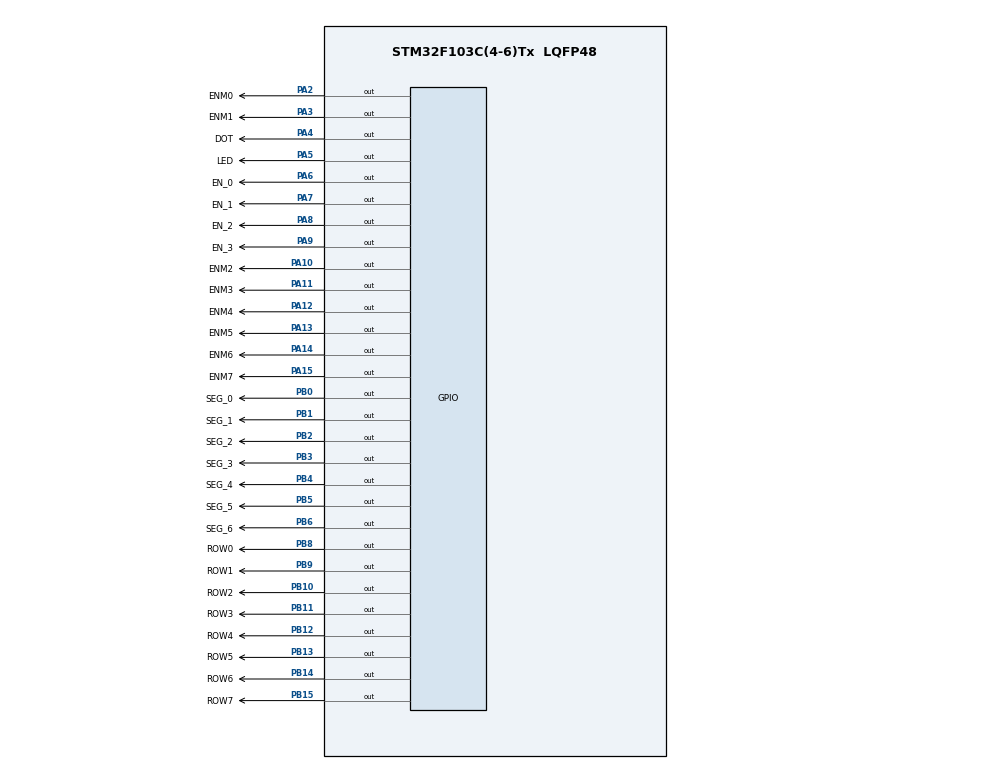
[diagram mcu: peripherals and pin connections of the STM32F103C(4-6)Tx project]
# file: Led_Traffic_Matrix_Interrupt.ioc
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Mcu.Family=STM32F1
Mcu.Name=STM32F103C(4-6)Tx
Mcu.Package=LQFP48
NVIC.PriorityGroup=NVIC_PRIORITYGROUP_4
NVIC.TIM2_IRQn=true\:0\:0\:false\:false\:true\:true\:true
PA10.GPIO_Label=ENM2
PA10.Signal=GPIO_Output
PA11.GPIO_Label=ENM3
PA11.Signal=GPIO_Output
PA12.GPIO_Label=ENM4
PA12.Signal=GPIO_Output
PA13.GPIO_Label=ENM5
PA13.Signal=GPIO_Output
PA14.GPIO_Label=ENM6
PA14.Signal=GPIO_Output
PA15.GPIO_Label=ENM7
PA15.Signal=GPIO_Output
PA2.GPIO_Label=ENM0
PA2.Signal=GPIO_Output
PA3.GPIO_Label=ENM1
PA3.Signal=GPIO_Output
PA4.GPIO_Label=DOT
PA4.Signal=GPIO_Output
PA5.GPIO_Label=LED
PA5.Signal=GPIO_Output
PA6.GPIO_Label=EN_0
PA6.Signal=GPIO_Output
PA7.GPIO_Label=EN_1
PA7.Signal=GPIO_Output
PA8.GPIO_Label=EN_2
PA8.Signal=GPIO_Output
PA9.GPIO_Label=EN_3
PA9.Signal=GPIO_Output
PB0.GPIO_Label=SEG_0
PB0.Signal=GPIO_Output
PB1.GPIO_Label=SEG_1
PB1.Signal=GPIO_Output
PB10.GPIO_Label=ROW2
PB10.Signal=GPIO_Output
PB11.GPIO_Label=ROW3
PB11.Signal=GPIO_Output
PB12.GPIO_Label=ROW4
PB12.Signal=GPIO_Output
PB13.GPIO_Label=ROW5
PB13.Signal=GPIO_Output
PB14.GPIO_Label=ROW6
PB14.Signal=GPIO_Output
PB15.GPIO_Label=ROW7
PB15.Signal=GPIO_Output
PB2.GPIO_Label=SEG_2
PB2.Signal=GPIO_Output
PB3.GPIO_Label=SEG_3
PB3.Signal=GPIO_Output
PB4.GPIO_Label=SEG_4
PB4.Signal=GPIO_Output
PB5.GPIO_Label=SEG_5
PB5.Signal=GPIO_Output
PB6.GPIO_Label=SEG_6
PB6.Signal=GPIO_Output
PB8.GPIO_Label=ROW0
PB8.Signal=GPIO_Output
PB9.GPIO_Label=ROW1
PB9.Signal=GPIO_Output
ProjectManager.HeapSize=0x200
ProjectManager.StackSize=0x400
ProjectManager.TargetToolchain=STM32CubeIDE
RCC.APB1Freq_Value=8000000
RCC.APB2Freq_Value=8000000
TIM2.Period=9
TIM2.Prescaler=7999
VP_SYS_VS_ND.Mode=No_Debug
VP_TIM2_VS_ClockSourceINT.Mode=Internal
board=custom

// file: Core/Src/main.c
/* USER CODE BEGIN Header */
/**
  ******************************************************************************
  * @file           : main.c
  * @brief          : Main program body
  ******************************************************************************
  * @attention
  *
  * <h2><center>&copy; Copyright (c) 2021 STMicroelectronics.
  * All rights reserved.</center></h2>
  *
  * This software component is licensed by ST under BSD 3-Clause license,
  * the "License"; You may not use this file except in compliance with the
  * License. You may obtain a copy of the License at:
  *                        opensource.org/licenses/BSD-3-Clause
  *
  ******************************************************************************
  */
/* USER CODE END Header */
#include "main.h"

TIM_HandleTypeDef htim2;

void SystemClock_Config(void);
static void MX_GPIO_Init(void);
static void MX_TIM2_Init(void);

/* USER CODE BEGIN 0 */
int timer0_counter=0;
int timer0_flag=0;
int timer1_counter=0;
int timer1_flag=0;
int timer2_counter=0;
int timer2_flag=0;
int timer3_counter=0;
int timer3_flag=0;
int timer4_counter=0;
int timer4_flag=0;
int TIMER_CYCLE=10;
void setTimer0(int duration){
	timer0_counter=duration/TIMER_CYCLE;
	timer0_flag=0;
}
void setTimer1(int duration){
	timer1_counter=duration/TIMER_CYCLE;
	timer1_flag=0;
}
void setTimer2(int duration){
	timer2_counter=duration/TIMER_CYCLE;
	timer2_flag=0;
}
void setTimer3(int duration){
	timer3_counter=duration/TIMER_CYCLE;
	timer3_flag=0;
}
void setTimer4(int duration){
	timer4_counter=duration/TIMER_CYCLE;
	timer4_flag=0;
}
void timer_run(){
	if(timer0_counter>0){
		timer0_counter--;
		if(timer0_counter==0) timer0_flag=1;
	}
	if(timer1_counter>0){
		timer1_counter--;
		if(timer1_counter==0) timer1_flag=1;
	}
	if(timer2_counter>0){
		timer2_counter--;
		if(timer2_counter==0) timer2_flag=1;
	}
	if(timer3_counter>0){
		timer3_counter--;
		if(timer3_counter==0) timer3_flag=1;
	}
	if(timer4_counter>0){
		timer4_counter--;
		if(timer4_counter==0) timer4_flag=1;
	}
}
/* USER CODE END 0 */

void display7SEG(int num){
	switch (num){
	case 0:
		HAL_GPIO_WritePin(GPIOB, SEG_0_Pin ,GPIO_PIN_RESET);
		HAL_GPIO_WritePin(GPIOB, SEG_1_Pin ,GPIO_PIN_RESET);
		HAL_GPIO_WritePin(GPIOB, SEG_2_Pin ,GPIO_PIN_RESET);
		HAL_GPIO_WritePin(GPIOB, SEG_3_Pin ,GPIO_PIN_RESET);
		HAL_GPIO_WritePin(GPIOB, SEG_4_Pin ,GPIO_PIN_RESET);
		HAL_GPIO_WritePin(GPIOB, SEG_5_Pin ,GPIO_PIN_RESET);
		HAL_GPIO_WritePin(GPIOB, SEG_6_Pin ,GPIO_PIN_SET);
		break;

	case 1:
		HAL_GPIO_WritePin(GPIOB, SEG_0_Pin ,GPIO_PIN_SET);
		HAL_GPIO_WritePin(GPIOB, SEG_1_Pin ,GPIO_PIN_RESET);
		HAL_GPIO_WritePin(GPIOB, SEG_2_Pin ,GPIO_PIN_RESET);
		HAL_GPIO_WritePin(GPIOB, SEG_3_Pin ,GPIO_PIN_SET);
		HAL_GPIO_WritePin(GPIOB, SEG_4_Pin ,GPIO_PIN_SET);
		HAL_GPIO_WritePin(GPIOB, SEG_5_Pin ,GPIO_PIN_SET);
		HAL_GPIO_WritePin(GPIOB, SEG_6_Pin ,GPIO_PIN_SET);
		break;

	case 2:
		HAL_GPIO_WritePin(GPIOB, SEG_0_Pin ,GPIO_PIN_RESET);
		HAL_GPIO_WritePin(GPIOB, SEG_1_Pin ,GPIO_PIN_RESET);
		HAL_GPIO_WritePin(GPIOB, SEG_2_Pin ,GPIO_PIN_SET);
		HAL_GPIO_WritePin(GPIOB, SEG_3_Pin ,GPIO_PIN_RESET);
		HAL_GPIO_WritePin(GPIOB, SEG_4_Pin ,GPIO_PIN_RESET);
		HAL_GPIO_WritePin(GPIOB, SEG_5_Pin ,GPIO_PIN_SET);
		HAL_GPIO_WritePin(GPIOB, SEG_6_Pin ,GPIO_PIN_RESET);
		break;
	case 3:
		HAL_GPIO_WritePin(GPIOB, SEG_0_Pin ,GPIO_PIN_RESET);
		HAL_GPIO_WritePin(GPIOB, SEG_1_Pin ,GPIO_PIN_RESET);
		HAL_GPIO_WritePin(GPIOB, SEG_2_Pin ,GPIO_PIN_RESET);
		HAL_GPIO_WritePin(GPIOB, SEG_3_Pin ,GPIO_PIN_RESET);
		HAL_GPIO_WritePin(GPIOB, SEG_4_Pin ,GPIO_PIN_SET);
		HAL_GPIO_WritePin(GPIOB, SEG_5_Pin ,GPIO_PIN_SET);
		HAL_GPIO_WritePin(GPIOB, SEG_6_Pin ,GPIO_PIN_RESET);
		break;
	case 4:
		HAL_GPIO_WritePin(GPIOB, SEG_0_Pin ,GPIO_PIN_SET);
		HAL_GPIO_WritePin(GPIOB, SEG_1_Pin ,GPIO_PIN_RESET);
		HAL_GPIO_WritePin(GPIOB, SEG_2_Pin ,GPIO_PIN_RESET);
		HAL_GPIO_WritePin(GPIOB, SEG_3_Pin ,GPIO_PIN_SET);
		HAL_GPIO_WritePin(GPIOB, SEG_4_Pin ,GPIO_PIN_SET);
		HAL_GPIO_WritePin(GPIOB, SEG_5_Pin ,GPIO_PIN_RESET);
		HAL_GPIO_WritePin(GPIOB, SEG_6_Pin ,GPIO_PIN_RESET);
		break;
	case 5:
		HAL_GPIO_WritePin(GPIOB, SEG_0_Pin ,GPIO_PIN_RESET);
		HAL_GPIO_WritePin(GPIOB, SEG_1_Pin ,GPIO_PIN_SET);
		HAL_GPIO_WritePin(GPIOB, SEG_2_Pin ,GPIO_PIN_RESET);
		HAL_GPIO_WritePin(GPIOB, SEG_3_Pin ,GPIO_PIN_RESET);
		HAL_GPIO_WritePin(GPIOB, SEG_4_Pin ,GPIO_PIN_SET);
		HAL_GPIO_WritePin(GPIOB, SEG_5_Pin,GPIO_PIN_RESET);
		HAL_GPIO_WritePin(GPIOB, SEG_6_Pin ,GPIO_PIN_RESET);
		break;
	case 6:
		HAL_GPIO_WritePin(GPIOB, SEG_0_Pin ,GPIO_PIN_RESET);
		HAL_GPIO_WritePin(GPIOB, SEG_1_Pin ,GPIO_PIN_SET);
		HAL_GPIO_WritePin(GPIOB, SEG_2_Pin ,GPIO_PIN_RESET);
		HAL_GPIO_WritePin(GPIOB, SEG_3_Pin ,GPIO_PIN_RESET);
		HAL_GPIO_WritePin(GPIOB, SEG_4_Pin ,GPIO_PIN_RESET);
		HAL_GPIO_WritePin(GPIOB, SEG_5_Pin ,GPIO_PIN_RESET);
		HAL_GPIO_WritePin(GPIOB, SEG_6_Pin ,GPIO_PIN_RESET);
		break;
	case 7:
		HAL_GPIO_WritePin(GPIOB, SEG_0_Pin ,GPIO_PIN_RESET);
		HAL_GPIO_WritePin(GPIOB, SEG_1_Pin ,GPIO_PIN_RESET);
		HAL_GPIO_WritePin(GPIOB, SEG_2_Pin ,GPIO_PIN_RESET);
		HAL_GPIO_WritePin(GPIOB, SEG_3_Pin ,GPIO_PIN_SET);
		HAL_GPIO_WritePin(GPIOB, SEG_4_Pin ,GPIO_PIN_SET);
		HAL_GPIO_WritePin(GPIOB, SEG_5_Pin ,GPIO_PIN_SET);
		HAL_GPIO_WritePin(GPIOB, SEG_6_Pin ,GPIO_PIN_SET);
		break;
	case 8:
		HAL_GPIO_WritePin(GPIOB, SEG_0_Pin ,GPIO_PIN_RESET);
		HAL_GPIO_WritePin(GPIOB, SEG_1_Pin ,GPIO_PIN_RESET);
		HAL_GPIO_WritePin(GPIOB, SEG_2_Pin ,GPIO_PIN_RESET);
		HAL_GPIO_WritePin(GPIOB, SEG_3_Pin ,GPIO_PIN_RESET);
		HAL_GPIO_WritePin(GPIOB, SEG_4_Pin ,GPIO_PIN_RESET);
		HAL_GPIO_WritePin(GPIOB, SEG_5_Pin ,GPIO_PIN_RESET);
		HAL_GPIO_WritePin(GPIOB, SEG_6_Pin ,GPIO_PIN_RESET);
			break;
	case 9:
		HAL_GPIO_WritePin(GPIOB, SEG_0_Pin ,GPIO_PIN_RESET);
		HAL_GPIO_WritePin(GPIOB, SEG_1_Pin ,GPIO_PIN_RESET);
		HAL_GPIO_WritePin(GPIOB, SEG_2_Pin ,GPIO_PIN_RESET);
		HAL_GPIO_WritePin(GPIOB, SEG_3_Pin ,GPIO_PIN_RESET);
		HAL_GPIO_WritePin(GPIOB, SEG_4_Pin ,GPIO_PIN_SET);
		HAL_GPIO_WritePin(GPIOB, SEG_5_Pin ,GPIO_PIN_RESET);
		HAL_GPIO_WritePin(GPIOB, SEG_6_Pin ,GPIO_PIN_RESET);
			break;
	default:
		HAL_GPIO_WritePin(GPIOB, SEG_0_Pin ,GPIO_PIN_RESET);
		HAL_GPIO_WritePin(GPIOB, SEG_1_Pin ,GPIO_PIN_RESET);
		HAL_GPIO_WritePin(GPIOB, SEG_2_Pin ,GPIO_PIN_RESET);
		HAL_GPIO_WritePin(GPIOB, SEG_3_Pin ,GPIO_PIN_RESET);
		HAL_GPIO_WritePin(GPIOB, SEG_4_Pin ,GPIO_PIN_SET);
		HAL_GPIO_WritePin(GPIOB, SEG_5_Pin ,GPIO_PIN_RESET);
		HAL_GPIO_WritePin(GPIOB, SEG_6_Pin ,GPIO_PIN_RESET);
	}
}
const int MAX_LED = 4;
int index_led = 0;
int led_buffer[4] = {1, 2, 3, 4};
void update7SEG(int index){
	switch (index){
	case 0:
		HAL_GPIO_WritePin(GPIOA, EN_0_Pin, GPIO_PIN_RESET);
		HAL_GPIO_WritePin(GPIOA, EN_1_Pin, GPIO_PIN_SET);
		HAL_GPIO_WritePin(GPIOA, EN_2_Pin, GPIO_PIN_SET);
		HAL_GPIO_WritePin(GPIOA, EN_3_Pin, GPIO_PIN_SET);
		display7SEG(led_buffer[index_led]);
		break;
	case 1:
		HAL_GPIO_WritePin(GPIOA, EN_0_Pin, GPIO_PIN_SET);
		HAL_GPIO_WritePin(GPIOA, EN_1_Pin, GPIO_PIN_RESET);
		HAL_GPIO_WritePin(GPIOA, EN_2_Pin, GPIO_PIN_SET);
		HAL_GPIO_WritePin(GPIOA, EN_3_Pin, GPIO_PIN_SET);
		display7SEG(led_buffer[index_led]);
		break;
	case 2:
		HAL_GPIO_WritePin(GPIOA, EN_0_Pin, GPIO_PIN_SET);
		HAL_GPIO_WritePin(GPIOA, EN_1_Pin, GPIO_PIN_SET);
		HAL_GPIO_WritePin(GPIOA, EN_2_Pin, GPIO_PIN_RESET);
		HAL_GPIO_WritePin(GPIOA, EN_3_Pin, GPIO_PIN_SET);
		display7SEG(led_buffer[index_led]);
		break;
	case 3:
		HAL_GPIO_WritePin(GPIOA, EN_0_Pin, GPIO_PIN_SET);
		HAL_GPIO_WritePin(GPIOA, EN_1_Pin, GPIO_PIN_SET);
		HAL_GPIO_WritePin(GPIOA, EN_2_Pin, GPIO_PIN_SET);
		HAL_GPIO_WritePin(GPIOA, EN_3_Pin, GPIO_PIN_RESET);
		display7SEG(led_buffer[index_led]);
		break;
	}
}
int hour = 15, minute = 8, second = 50;
void updateClockBuffer(){
	if(hour<10){
		led_buffer[0]=0;
		led_buffer[1]=hour;
	}
	else{
		led_buffer[0]=(int)(hour/10);
		led_buffer[1]=hour-led_buffer[0]*10;
	}
	if(minute<10){
		led_buffer[2]=0;
		led_buffer[3]=minute;
	}
	else{
		led_buffer[2]=(int)(minute/10);
		led_buffer[3]=minute-led_buffer[2]*10;
	}
}
const int MAX_LED_MATRIX = 8;
int index_led_matrix = 0;
uint8_t matrix_buffer[12] = {0xFF,0xFF,0xFF, 0x80, 0x80, 0x67, 0x67, 0x80, 0x80, 0xFF};
void LedMatrix(int index){
	HAL_GPIO_WritePin(GPIOB, ROW0_Pin, (matrix_buffer[index]>>7)&1);
	HAL_GPIO_WritePin(GPIOB, ROW1_Pin, (matrix_buffer[index]>>6)&1);
	HAL_GPIO_WritePin(GPIOB, ROW2_Pin, (matrix_buffer[index]>>5)&1);
	HAL_GPIO_WritePin(GPIOB, ROW3_Pin, (matrix_buffer[index]>>4)&1);
	HAL_GPIO_WritePin(GPIOB, ROW4_Pin, (matrix_buffer[index]>>3)&1);
	HAL_GPIO_WritePin(GPIOB, ROW5_Pin, (matrix_buffer[index]>>2)&1);
	HAL_GPIO_WritePin(GPIOB, ROW6_Pin, (matrix_buffer[index]>>1)&1);
	HAL_GPIO_WritePin(GPIOB, ROW7_Pin, (matrix_buffer[index]>>0)&1);
}
void updateLEDMatrix(int index, int data_row){
    switch (index){
        case 0:
        	HAL_GPIO_WritePin(GPIOA, ENM0_Pin, GPIO_PIN_RESET);
        	HAL_GPIO_WritePin(GPIOA, ENM1_Pin, GPIO_PIN_SET);
        	HAL_GPIO_WritePin(GPIOA, ENM2_Pin, GPIO_PIN_SET);
        	HAL_GPIO_WritePin(GPIOA, ENM3_Pin, GPIO_PIN_SET);
        	HAL_GPIO_WritePin(GPIOA, ENM4_Pin, GPIO_PIN_SET);
        	HAL_GPIO_WritePin(GPIOA, ENM5_Pin, GPIO_PIN_SET);
        	HAL_GPIO_WritePin(GPIOA, ENM6_Pin, GPIO_PIN_SET);
        	HAL_GPIO_WritePin(GPIOA, ENM7_Pin, GPIO_PIN_SET);
        	LedMatrix(data_row);
            break;
        case 1:
        	HAL_GPIO_WritePin(GPIOA, ENM0_Pin, GPIO_PIN_SET);
        	HAL_GPIO_WritePin(GPIOA, ENM1_Pin, GPIO_PIN_RESET);
        	HAL_GPIO_WritePin(GPIOA, ENM2_Pin, GPIO_PIN_SET);
        	HAL_GPIO_WritePin(GPIOA, ENM3_Pin, GPIO_PIN_SET);
        	HAL_GPIO_WritePin(GPIOA, ENM4_Pin, GPIO_PIN_SET);
        	HAL_GPIO_WritePin(GPIOA, ENM5_Pin, GPIO_PIN_SET);
        	HAL_GPIO_WritePin(GPIOA, ENM6_Pin, GPIO_PIN_SET);
        	HAL_GPIO_WritePin(GPIOA, ENM7_Pin, GPIO_PIN_SET);
        	LedMatrix(data_row);
            break;
        case 2:
        	HAL_GPIO_WritePin(GPIOA, ENM0_Pin, GPIO_PIN_SET);
        	HAL_GPIO_WritePin(GPIOA, ENM1_Pin, GPIO_PIN_SET);
        	HAL_GPIO_WritePin(GPIOA, ENM2_Pin, GPIO_PIN_RESET);
        	HAL_GPIO_WritePin(GPIOA, ENM3_Pin, GPIO_PIN_SET);
        	HAL_GPIO_WritePin(GPIOA, ENM4_Pin, GPIO_PIN_SET);
        	HAL_GPIO_WritePin(GPIOA, ENM5_Pin, GPIO_PIN_SET);
        	HAL_GPIO_WritePin(GPIOA, ENM6_Pin, GPIO_PIN_SET);
        	HAL_GPIO_WritePin(GPIOA, ENM7_Pin, GPIO_PIN_SET);
        	LedMatrix(data_row);
            break;
        case 3:
        	HAL_GPIO_WritePin(GPIOA, ENM0_Pin, GPIO_PIN_SET);
        	HAL_GPIO_WritePin(GPIOA, ENM1_Pin, GPIO_PIN_SET);
        	HAL_GPIO_WritePin(GPIOA, ENM2_Pin, GPIO_PIN_SET);
        	HAL_GPIO_WritePin(GPIOA, ENM3_Pin, GPIO_PIN_RESET);
        	HAL_GPIO_WritePin(GPIOA, ENM4_Pin, GPIO_PIN_SET);
        	HAL_GPIO_WritePin(GPIOA, ENM5_Pin, GPIO_PIN_SET);
        	HAL_GPIO_WritePin(GPIOA, ENM6_Pin, GPIO_PIN_SET);
        	HAL_GPIO_WritePin(GPIOA, ENM7_Pin, GPIO_PIN_SET);
        	LedMatrix(data_row);
            break;
        case 4:
        	HAL_GPIO_WritePin(GPIOA, ENM0_Pin, GPIO_PIN_SET);
        	HAL_GPIO_WritePin(GPIOA, ENM1_Pin, GPIO_PIN_SET);
        	HAL_GPIO_WritePin(GPIOA, ENM2_Pin, GPIO_PIN_SET);
        	HAL_GPIO_WritePin(GPIOA, ENM3_Pin, GPIO_PIN_SET);
        	HAL_GPIO_WritePin(GPIOA, ENM4_Pin, GPIO_PIN_RESET);
        	HAL_GPIO_WritePin(GPIOA, ENM5_Pin, GPIO_PIN_SET);
        	HAL_GPIO_WritePin(GPIOA, ENM6_Pin, GPIO_PIN_SET);
        	HAL_GPIO_WritePin(GPIOA, ENM7_Pin, GPIO_PIN_SET);
        	LedMatrix(data_row);
            break;
        case 5:
        	HAL_GPIO_WritePin(GPIOA, ENM0_Pin, GPIO_PIN_SET);
        	HAL_GPIO_WritePin(GPIOA, ENM1_Pin, GPIO_PIN_SET);
        	HAL_GPIO_WritePin(GPIOA, ENM2_Pin, GPIO_PIN_SET);
        	HAL_GPIO_WritePin(GPIOA, ENM3_Pin, GPIO_PIN_SET);
        	HAL_GPIO_WritePin(GPIOA, ENM4_Pin, GPIO_PIN_SET);
        	HAL_GPIO_WritePin(GPIOA, ENM5_Pin, GPIO_PIN_RESET);
        	HAL_GPIO_WritePin(GPIOA, ENM6_Pin, GPIO_PIN_SET);
        	HAL_GPIO_WritePin(GPIOA, ENM7_Pin, GPIO_PIN_SET);
        	LedMatrix(data_row);
            break;
        case 6:
        	HAL_GPIO_WritePin(GPIOA, ENM0_Pin, GPIO_PIN_SET);
        	HAL_GPIO_WritePin(GPIOA, ENM1_Pin, GPIO_PIN_SET);
        	HAL_GPIO_WritePin(GPIOA, ENM2_Pin, GPIO_PIN_SET);
        	HAL_GPIO_WritePin(GPIOA, ENM3_Pin, GPIO_PIN_SET);
        	HAL_GPIO_WritePin(GPIOA, ENM4_Pin, GPIO_PIN_SET);
        	HAL_GPIO_WritePin(GPIOA, ENM5_Pin, GPIO_PIN_SET);
        	HAL_GPIO_WritePin(GPIOA, ENM6_Pin, GPIO_PIN_RESET);
        	HAL_GPIO_WritePin(GPIOA, ENM7_Pin, GPIO_PIN_SET);
        	LedMatrix(data_row);
            break;
        case 7:
        	HAL_GPIO_WritePin(GPIOA, ENM0_Pin, GPIO_PIN_SET);
        	HAL_GPIO_WritePin(GPIOA, ENM1_Pin, GPIO_PIN_SET);
        	HAL_GPIO_WritePin(GPIOA, ENM2_Pin, GPIO_PIN_SET);
        	HAL_GPIO_WritePin(GPIOA, ENM3_Pin, GPIO_PIN_SET);
        	HAL_GPIO_WritePin(GPIOA, ENM4_Pin, GPIO_PIN_SET);
        	HAL_GPIO_WritePin(GPIOA, ENM5_Pin, GPIO_PIN_SET);
        	HAL_GPIO_WritePin(GPIOA, ENM6_Pin, GPIO_PIN_SET);
        	HAL_GPIO_WritePin(GPIOA, ENM7_Pin, GPIO_PIN_RESET);
        	LedMatrix(data_row);
            break;
        default:
            break;
    }
}
int main(void)
{

  /* MCU Configuration--------------------------------------------------------*/

  /* Reset of all peripherals, Initializes the Flash interface and the Systick. */
  HAL_Init();

  /* Configure the system clock */
  SystemClock_Config();

  /* Initialize all configured peripherals */
  MX_GPIO_Init();
  MX_TIM2_Init();
  /* USER CODE BEGIN 2 */
  HAL_TIM_Base_Start_IT(&htim2);
  /* USER CODE END 2 */

  /* Infinite loop */
  /* USER CODE BEGIN WHILE */
setTimer0(1000);
int status_time=0;
int counter_time=100;
int status_DOT=0;
int counter_DOT=1000;
int status_7SEG=0;
int counter_7SEG=250;
int status_matrix=0;
int counter_matrix=10;
int data_row=0;
while (1){
    /* USER CODE END WHILE */
	if(timer0_flag==1){
		HAL_GPIO_TogglePin(GPIOA, LED_Pin);
		setTimer0(2000);
	}
	switch(status_DOT){
	case 0:
		setTimer2(counter_DOT);
		status_DOT=1;
		break;
	case 1:
		HAL_GPIO_WritePin(GPIOA, DOT_Pin, GPIO_PIN_RESET);
		if(timer2_flag==1){
			setTimer2(counter_DOT);
			status_DOT=2;
		}
		break;
	case 2:
		HAL_GPIO_WritePin(GPIOA, DOT_Pin, GPIO_PIN_SET);
		if(timer2_flag==1){
			setTimer2(counter_DOT);
			status_DOT=1;
		}
		break;
	}

	switch (status_7SEG){
	case 0:
		setTimer3(counter_7SEG);
		status_7SEG=1;
		break;
	case 1:
		update7SEG(index_led);
		if(timer3_flag==1){
			status_7SEG=2;
			index_led++;
			setTimer3(counter_7SEG);
		}
		break;
	case 2:
		update7SEG(index_led);
		if(timer3_flag==1){
			status_7SEG=3;
			index_led++;
			setTimer3(counter_7SEG);
		}
		break;
	case 3:
		update7SEG(index_led);
		if(timer3_flag==1){
			status_7SEG=4;
			index_led++;
			setTimer3(counter_7SEG);
		}
		break;
	case 4:
		update7SEG(index_led);
		if(timer3_flag==1){
			status_7SEG=1;
			index_led++;
			setTimer3(counter_7SEG);
		}
		break;
	}
	if(index_led>=MAX_LED) index_led=0;

	switch (status_time){
	case 0:
		second++;
		setTimer1(counter_time);
		status_time=1;
		break;
	case 1:
		if(timer1_flag==1){
			if(second>=60){
				second=0;
				minute++;
			}
			if(minute>=60){
				minute=0;
				hour++;
			}
			if(hour>=24) hour=0;
		status_time=0;
	   }
	}
	updateClockBuffer();
	switch(status_matrix){
		case 0:
			setTimer4(counter_matrix);
			status_matrix=1;
			break;
		case 1:
			updateLEDMatrix(index_led_matrix++,data_row++);
			if(timer4_flag==1){
				status_matrix=0;
			}
			break;
		}
		if(index_led_matrix>=MAX_LED_MATRIX) index_led_matrix=0;
		if(data_row>=10) data_row=0;
/*	updateLEDMatrix(index_led_matrix++,data_row++);
	if(index_led_matrix>=MAX_LED_MATRIX) index_led_matrix=0;
	if(data_row>=11) data_row=0;
	HAL_Delay(10);*/
  }
}

void SystemClock_Config(void)
{
  RCC_OscInitTypeDef RCC_OscInitStruct = {0};
  RCC_ClkInitTypeDef RCC_ClkInitStruct = {0};

  /** Initializes the RCC Oscillators according to the specified parameters
  * in the RCC_OscInitTypeDef structure.
  */
  RCC_OscInitStruct.OscillatorType = RCC_OSCILLATORTYPE_HSI;
  RCC_OscInitStruct.HSIState = RCC_HSI_ON;
  RCC_OscInitStruct.HSICalibrationValue = RCC_HSICALIBRATION_DEFAULT;
  RCC_OscInitStruct.PLL.PLLState = RCC_PLL_NONE;
  if (HAL_RCC_OscConfig(&RCC_OscInitStruct) != HAL_OK)
  {
    Error_Handler();
  }
  /** Initializes the CPU, AHB and APB buses clocks
  */
  RCC_ClkInitStruct.ClockType = RCC_CLOCKTYPE_HCLK|RCC_CLOCKTYPE_SYSCLK
                              |RCC_CLOCKTYPE_PCLK1|RCC_CLOCKTYPE_PCLK2;
  RCC_ClkInitStruct.SYSCLKSource = RCC_SYSCLKSOURCE_HSI;
  RCC_ClkInitStruct.AHBCLKDivider = RCC_SYSCLK_DIV1;
  RCC_ClkInitStruct.APB1CLKDivider = RCC_HCLK_DIV1;
  RCC_ClkInitStruct.APB2CLKDivider = RCC_HCLK_DIV1;

  if (HAL_RCC_ClockConfig(&RCC_ClkInitStruct, FLASH_LATENCY_0) != HAL_OK)
  {
    Error_Handler();
  }
}

static void MX_TIM2_Init(void)
{

  TIM_ClockConfigTypeDef sClockSourceConfig = {0};
  TIM_MasterConfigTypeDef sMasterConfig = {0};

  htim2.Instance = TIM2;
  htim2.Init.Prescaler = 7999;
  htim2.Init.CounterMode = TIM_COUNTERMODE_UP;
  htim2.Init.Period = 9;
  htim2.Init.ClockDivision = TIM_CLOCKDIVISION_DIV1;
  htim2.Init.AutoReloadPreload = TIM_AUTORELOAD_PRELOAD_DISABLE;
  if (HAL_TIM_Base_Init(&htim2) != HAL_OK)
  {
    Error_Handler();
  }
  sClockSourceConfig.ClockSource = TIM_CLOCKSOURCE_INTERNAL;
  if (HAL_TIM_ConfigClockSource(&htim2, &sClockSourceConfig) != HAL_OK)
  {
    Error_Handler();
  }
  sMasterConfig.MasterOutputTrigger = TIM_TRGO_RESET;
  sMasterConfig.MasterSlaveMode = TIM_MASTERSLAVEMODE_DISABLE;
  if (HAL_TIMEx_MasterConfigSynchronization(&htim2, &sMasterConfig) != HAL_OK)
  {
    Error_Handler();
  }

}

static void MX_GPIO_Init(void)
{
  GPIO_InitTypeDef GPIO_InitStruct = {0};

  /* GPIO Ports Clock Enable */
  __HAL_RCC_GPIOA_CLK_ENABLE();
  __HAL_RCC_GPIOB_CLK_ENABLE();

  /*Configure GPIO pin Output Level */
  HAL_GPIO_WritePin(GPIOA, ENM0_Pin|ENM1_Pin|DOT_Pin|LED_Pin
                          |EN_0_Pin|EN_1_Pin|EN_2_Pin|EN_3_Pin
                          |ENM2_Pin|ENM3_Pin|ENM4_Pin|ENM5_Pin
                          |ENM6_Pin|ENM7_Pin, GPIO_PIN_RESET);

  /*Configure GPIO pin Output Level */
  HAL_GPIO_WritePin(GPIOB, SEG_0_Pin|SEG_1_Pin|SEG_2_Pin|ROW2_Pin
                          |ROW3_Pin|ROW4_Pin|ROW5_Pin|ROW6_Pin
                          |ROW7_Pin|SEG_3_Pin|SEG_4_Pin|SEG_5_Pin
                          |SEG_6_Pin|ROW0_Pin|ROW1_Pin, GPIO_PIN_RESET);

  /*Configure GPIO pins : ENM0_Pin ENM1_Pin DOT_Pin LED_Pin
                           EN_0_Pin EN_1_Pin EN_2_Pin EN_3_Pin
                           ENM2_Pin ENM3_Pin ENM4_Pin ENM5_Pin
                           ENM6_Pin ENM7_Pin */
  GPIO_InitStruct.Pin = ENM0_Pin|ENM1_Pin|DOT_Pin|LED_Pin
                          |EN_0_Pin|EN_1_Pin|EN_2_Pin|EN_3_Pin
                          |ENM2_Pin|ENM3_Pin|ENM4_Pin|ENM5_Pin
                          |ENM6_Pin|ENM7_Pin;
  GPIO_InitStruct.Mode = GPIO_MODE_OUTPUT_PP;
  GPIO_InitStruct.Pull = GPIO_NOPULL;
  GPIO_InitStruct.Speed = GPIO_SPEED_FREQ_LOW;
  HAL_GPIO_Init(GPIOA, &GPIO_InitStruct);

  /*Configure GPIO pins : SEG_0_Pin SEG_1_Pin SEG_2_Pin ROW2_Pin
                           ROW3_Pin ROW4_Pin ROW5_Pin ROW6_Pin
                           ROW7_Pin SEG_3_Pin SEG_4_Pin SEG_5_Pin
                           SEG_6_Pin ROW0_Pin ROW1_Pin */
  GPIO_InitStruct.Pin = SEG_0_Pin|SEG_1_Pin|SEG_2_Pin|ROW2_Pin
                          |ROW3_Pin|ROW4_Pin|ROW5_Pin|ROW6_Pin
                          |ROW7_Pin|SEG_3_Pin|SEG_4_Pin|SEG_5_Pin
                          |SEG_6_Pin|ROW0_Pin|ROW1_Pin;
  GPIO_InitStruct.Mode = GPIO_MODE_OUTPUT_PP;
  GPIO_InitStruct.Pull = GPIO_NOPULL;
  GPIO_InitStruct.Speed = GPIO_SPEED_FREQ_LOW;
  HAL_GPIO_Init(GPIOB, &GPIO_InitStruct);

}

/* USER CODE BEGIN 4 */
//int counter=100;
//int counter_7SEG=100;
//int counter_DOT=100;
//int status_7SEG=0;
void HAL_TIM_PeriodElapsedCallback ( TIM_HandleTypeDef * htim ){
//	counter--;
//	counter_7SEG--;
//	counter_DOT--;
//	if(counter<=0){
//		counter=100;
//		HAL_GPIO_TogglePin(GPIOA, LED_Pin);
//	}
//	if(counter_DOT<=0){
//		counter_DOT=100;
//		HAL_GPIO_TogglePin(GPIOA, DOT_Pin);
//	}
	timer_run();
}
/* USER CODE END 4 */

void Error_Handler(void)
{
  __disable_irq();
  while (1)
  {
  }
}

/************************ (C) COPYRIGHT STMicroelectronics *****END OF FILE****/
